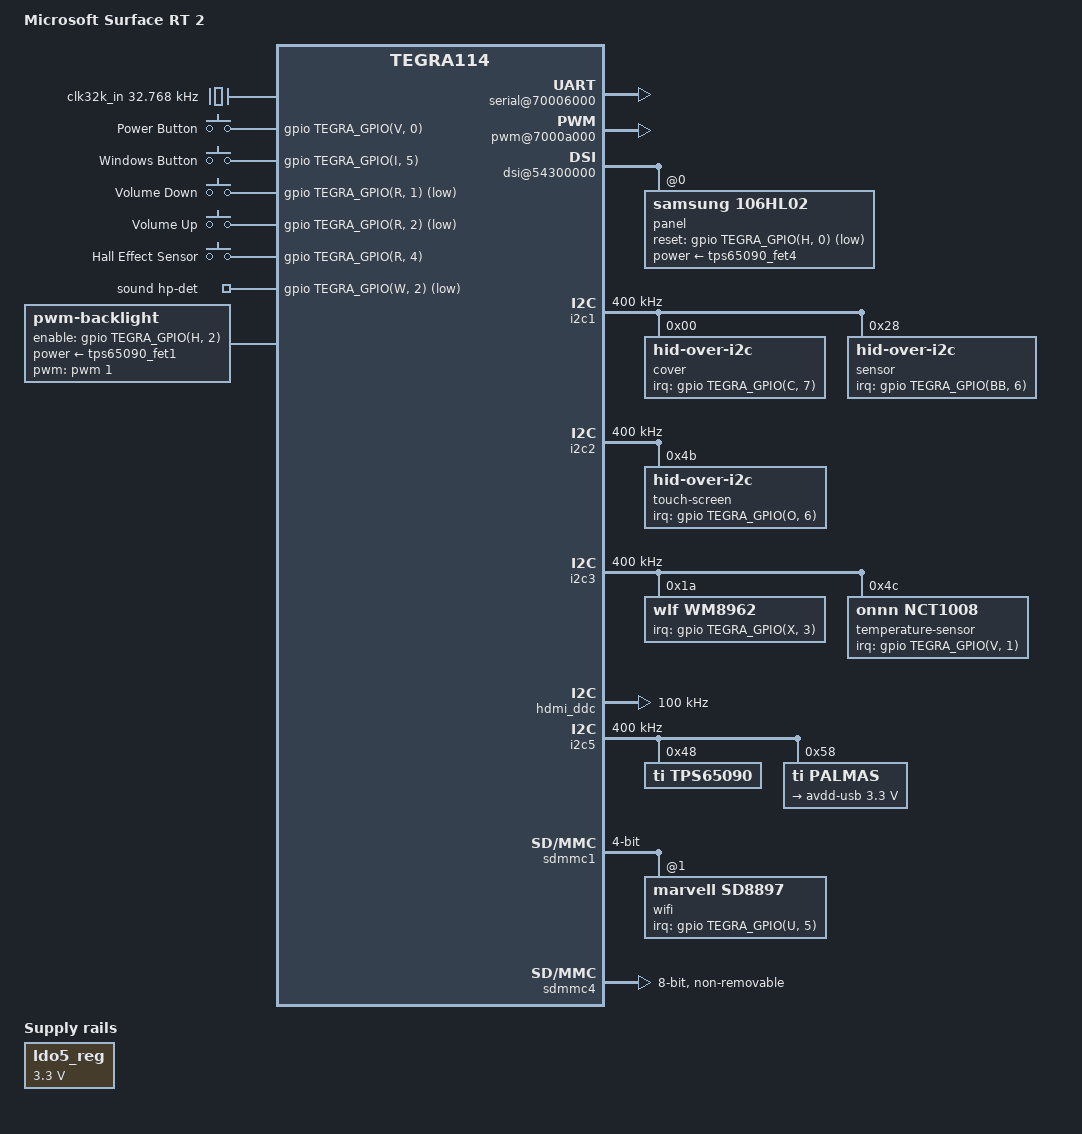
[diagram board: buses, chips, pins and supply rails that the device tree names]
// SPDX-License-Identifier: GPL-2.0

/dts-v1/;

#include <dt-bindings/input/input.h>
#include "tegra114.dtsi"

/ {
	model = "Microsoft Surface RT 2";
	compatible = "microsoft,surface-rt-2", "nvidia,tegra114";

	aliases {
		mmc0 = &sdmmc4; /* eMMC */
		mmc1 = &sdmmc3; /* uSD slot */
		mmc2 = &sdmmc1; /* WiFi */

		rtc0 = &palmas;
		rtc1 = "/rtc@7000e000";

		serial0 = &uarta; /* console */
	};

	chosen {
		stdout-path = "serial0:115200n8";
	};

	pmc@7000e400 {
		nvidia,invert-interrupt;
	};

	/* clock from PMIC */
	clk32k_in: clock-32 {
		compatible = "fixed-clock";
		clock-frequency = <32768>;
		#clock-cells = <0>;
	};

	pinmux@70000868 {
		pinctrl-names = "default";
		pinctrl-0 = <&state_default>;

		state_default: pinmux {
			/* UART A RX ??? */
			/*
			sdmmc3_cmd_pa7 {
				nvidia,pins = "sdmmc3_cmd_pa7";
				nvidia,function = "uarta";
				nvidia,pull = <TEGRA_PIN_PULL_DOWN>;
				nvidia,tristate = <TEGRA_PIN_ENABLE>;
				nvidia,enable-input = <TEGRA_PIN_ENABLE>;
			};
			*/

			/* UART A TX */
			sdmmc3_dat1_pb6 {
				nvidia,pins = "sdmmc3_dat1_pb6";
				nvidia,function = "uarta";
				nvidia,pull = <TEGRA_PIN_PULL_NONE>;
				nvidia,tristate = <TEGRA_PIN_DISABLE>;
				nvidia,enable-input = <TEGRA_PIN_DISABLE>;
			};

			panel-reset {
				nvidia,pins = "gmi_ad8_ph0";
				nvidia,function = "gmi";
				nvidia,pull = <TEGRA_PIN_PULL_NONE>;
				nvidia,tristate = <TEGRA_PIN_DISABLE>;
				nvidia,enable-input = <TEGRA_PIN_DISABLE>;
			};

			panel-backlight {
				nvidia,pins = "gmi_ad10_ph2";
				nvidia,function = "gmi";
				nvidia,pull = <TEGRA_PIN_PULL_NONE>;
				nvidia,tristate = <TEGRA_PIN_DISABLE>;
				nvidia,enable-input = <TEGRA_PIN_DISABLE>;
			};

			tps65090-interrupt {
				nvidia,pins = "gmi_cs0_n_pj0";
				nvidia,function = "gmi";
				nvidia,pull = <TEGRA_PIN_PULL_DOWN>;
				nvidia,tristate = <TEGRA_PIN_DISABLE>;
				nvidia,enable-input = <TEGRA_PIN_ENABLE>;
			};

			pwm {
				nvidia,pins = "dvfs_pwm_px0";
				nvidia,function = "cldvfs";
				nvidia,pull = <TEGRA_PIN_PULL_NONE>;
				nvidia,tristate = <TEGRA_PIN_DISABLE>;
				nvidia,enable-input = <TEGRA_PIN_DISABLE>;
			};

			gmi_ad9_ph1 {
				nvidia,pins = "gmi_ad9_ph1";
				nvidia,function = "pwm1";
				nvidia,pull = <TEGRA_PIN_PULL_NONE>;
				nvidia,tristate = <TEGRA_PIN_DISABLE>;
				nvidia,enable-input = <TEGRA_PIN_DISABLE>;
			};
		};
	};

	serial@70006000 {
		status = "okay";
	};

	pwm@7000a000 {
		status = "okay";
	};

	gpio-keys {
		compatible = "gpio-keys";

		label = "GPIO Buttons";

		power {
			label = "Power Button";
			gpios = <&gpio TEGRA_GPIO(V, 0) GPIO_ACTIVE_HIGH>;
			linux,code = <KEY_POWER>;
			debounce-interval = <10>;
			wakeup-source;
		};

		windows-button {
			label = "Windows Button";
			gpios = <&gpio TEGRA_GPIO(I, 5) GPIO_ACTIVE_HIGH>;
			linux,code = <KEY_LEFTMETA>;
			debounce-interval = <10>;
			wakeup-source;
		};

		volume-down {
			label = "Volume Down";
			gpios = <&gpio TEGRA_GPIO(R, 1) GPIO_ACTIVE_LOW>;
			linux,code = <KEY_VOLUMEDOWN>;
			debounce-interval = <10>;
		};

		volume-up {
			label = "Volume Up";
			gpios = <&gpio TEGRA_GPIO(R, 2) GPIO_ACTIVE_LOW>;
			linux,code = <KEY_VOLUMEUP>;
			debounce-interval = <10>;
		};
	};

	gpio-hall-sensor {
		compatible = "gpio-keys";

		label = "GPIO Hall Effect Sensor";

		hall-sensor {
			label = "Hall Effect Sensor";
			gpios = <&gpio TEGRA_GPIO(R, 4) GPIO_ACTIVE_HIGH>;
			linux,input-type = <EV_SW>;
			linux,code = <SW_LID>;
			linux,can-disable;
			wakeup-source;
		};
	};

	host1x@50000000 {
		hdmi@54280000 {
			status = "disabled"; // doesn't work yet

			nvidia,ddc-i2c-bus = <&hdmi_ddc>;
			nvidia,hpd-gpio = <&gpio TEGRA_GPIO(N, 7) GPIO_ACTIVE_HIGH>;
		};

		dsi@54300000 {
			status = "okay";

			avdd-dsi-csi-supply = <&tps65913_ldo3>;

			panel@0 {
				compatible = "samsung,106hl02";
				reg = <0>;

				reset-gpios = <&gpio TEGRA_GPIO(H, 0) GPIO_ACTIVE_LOW>;

				power-supply = <&tps65090_fet4>;
				//backlight = <&backlight>;
			};
		};
	};

	i2c1: i2c@7000c000 {
		status = "okay";
		clock-frequency = <400000>;

		cover@0 {
			compatible = "hid-over-i2c";
			reg = <0x00>;
			hid-descr-addr = <0x0041>;
			interrupt-parent = <&gpio>;
			interrupts = <TEGRA_GPIO(C, 7) IRQ_TYPE_LEVEL_LOW>;
		};

		sensor@28 {
			compatible = "hid-over-i2c";
			reg = <0x28>;
			hid-descr-addr = <0x0001>;
			interrupt-parent = <&gpio>;
			interrupts = <TEGRA_GPIO(BB, 6) IRQ_TYPE_LEVEL_LOW>;
		};
	};

	i2c2: i2c@7000c400 {
		status = "okay";
		clock-frequency = <400000>;

		touch-screen@4b {
			compatible = "hid-over-i2c";
			reg = <0x4b>;
			hid-descr-addr = <0x0000>;
			interrupt-parent = <&gpio>;
			interrupts = <TEGRA_GPIO(O, 6) IRQ_TYPE_LEVEL_LOW>;
		};
	};

	i2c3: i2c@7000c500 {
		status = "okay";
		clock-frequency = <400000>;

		wm8962: wm8962@1a {
			compatible = "wlf,wm8962";
			reg = <0x1a>;
			interrupt-parent = <&gpio>;
			interrupts = <TEGRA_GPIO(X, 3) IRQ_TYPE_LEVEL_HIGH>;
			gpio-controller;
			#gpio-cells = <2>;
		};

		temperature-sensor@4c {
			compatible = "onnn,nct1008";
			reg = <0x4c>;
			interrupt-parent = <&gpio>;
			interrupts = <TEGRA_GPIO(V, 1) IRQ_TYPE_EDGE_FALLING>;
		};
	};

	hdmi_ddc: i2c@7000c700 {
		status = "okay";
		clock-frequency = <100000>;
	};

	i2c5: i2c@7000d000 {
		status = "okay";
		clock-frequency = <400000>;

		tps65090@48 {
			compatible = "ti,tps65090";
			reg = <0x48>;

			// please fix it
			// interrupt-parent = <&gpio>;
			// interrupts = <TEGRA_GPIO(J, 0) IRQ_TYPE_LEVEL_HIGH>;

			regulators {
				/* let's keep voltage constraints from bootloader */

				tps65090_fet1: fet1 {
					regulator-boot-on;
					regulator-always-on;
				};

				tps65090_fet4: fet4 { };
			};
		};

		palmas: pmic@58 {
			compatible = "ti,palmas";
			reg = <0x58>;
			interrupts = <GIC_SPI 86 IRQ_TYPE_LEVEL_HIGH>;

			#interrupt-cells = <2>;
			interrupt-controller;

			ti,system-power-controller;

			palmas_gpio: gpio {
				compatible = "ti,palmas-gpio";
				gpio-controller;
				#gpio-cells = <2>;
			};

			pmic {
				compatible = "ti,tps65913-pmic", "ti,palmas-pmic";

				regulators {
					ldousb {
						regulator-name = "avdd-usb";
						regulator-min-microvolt = <3300000>;
						regulator-max-microvolt = <3300000>;
						regulator-always-on;
						regulator-boot-on;
					};

					/* let's keep voltage constraints from bootloader here as well */
					tps65913_ldo3: ldo3 { };
				};
			};

			rtc {
				compatible = "ti,palmas-rtc";
				interrupt-parent = <&palmas>;
				interrupts = <8 0>;
			};

			pinmux {
				compatible = "ti,tps65913-pinctrl";
				ti,palmas-enable-dvfs1;
				pinctrl-names = "default";
				pinctrl-0 = <&palmas_default>;

				palmas_default: pinmux {
					// empty
				};
			};
		};
	};

	sound {
		compatible = "nvidia,tegra-audio-wm8962";
		nvidia,model = "NVIDIA Tegra Surface RT 2";

		nvidia,audio-routing =
			"Headphone Jack", "HPOUTR",
			"Headphone Jack", "HPOUTL",
			"Int Spk", "SPKOUTR",
			"Int Spk", "SPKOUTL";

		nvidia,i2s-controller = <&tegra_i2s1>;
		nvidia,audio-codec = <&wm8962>;

		nvidia,hp-det-gpios = <&gpio TEGRA_GPIO(W, 2) GPIO_ACTIVE_LOW>;

		clocks = <&tegra_car TEGRA114_CLK_PLL_A>,
			 <&tegra_car TEGRA114_CLK_PLL_A_OUT0>,
			 <&tegra_pmc TEGRA_PMC_CLK_OUT_1>;
		clock-names = "pll_a", "pll_a_out0", "mclk";

		assigned-clocks = <&tegra_car TEGRA114_CLK_EXTERN1>,
				  <&tegra_pmc TEGRA_PMC_CLK_OUT_1>;

		assigned-clock-parents = <&tegra_car TEGRA114_CLK_PLL_A_OUT0>,
					 <&tegra_car TEGRA114_CLK_EXTERN1>;
	};


	/* WiFi - SDMMC-1 */
	sdmmc1: mmc@78000000 {
		#address-cells = <1>;
		#size-cells = <0>;

		status = "okay";

		bus-width = <4>;
		cap-power-off-card;
		keep-power-in-suspend;
		max-frequency = <100000000>;

		assigned-clocks = <&tegra_car TEGRA114_CLK_SDMMC1>;
		assigned-clock-parents = <&tegra_car TEGRA114_CLK_PLL_C>;
		assigned-clock-rates = <100000000>;

		mmc-pwrseq = <&mrvl_wifi_pwrseq>;
		//vqmmc-supply = <&vqmmc_wifi_reg>;

		/* Marvell 88W8797 WiFi */
		wifi@1 {
			compatible = "marvell,sd8897";
			reg = <1>;
			interrupt-parent = <&gpio>;
			interrupts = <TEGRA_GPIO(U, 5) IRQ_TYPE_LEVEL_HIGH>;
		};
	};

	mrvl_wifi_pwrseq: wifi-pwrseq {
		compatible = "mmc-pwrseq-simple";

		clocks = <&tegra_pmc TEGRA_PMC_CLK_BLINK>;
		clock-names = "ext_clock";

		post-power-on-delay-ms = <300>;
		power-off-delay-us = <300>;
	};

	/* SD - SDMMC-3 */
	sdmmc3: mmc@78000400 {
		status = "disabled"; // uart is more important
		vqmmc-supply = <&ldo5_reg>;
		bus-width = <4>;
		cd-gpios = <&gpio TEGRA_GPIO(V, 2) GPIO_ACTIVE_LOW>;
	};

	ldo5_reg: tps65911-ldo5 {
		compatible = "regulator-fixed";
		regulator-name = "vddio_sdmmc";
		regulator-min-microvolt = <3300000>;
		regulator-max-microvolt = <3300000>;
		regulator-always-on;
	};

	/* eMMC - SDMMC-4 */
	sdmmc4: mmc@78000600 {
		status = "okay";
		bus-width = <8>;
		non-removable;
	};

	backlight: backlight {
		compatible = "pwm-backlight";

		enable-gpios = <&gpio TEGRA_GPIO(H, 2) GPIO_ACTIVE_HIGH>; // may be wrong
		power-supply = <&tps65090_fet1>;
		pwms = <&pwm 1 1000000>;

		brightness-levels = <1 255>;
		num-interpolated-steps = <254>;
	};
};
